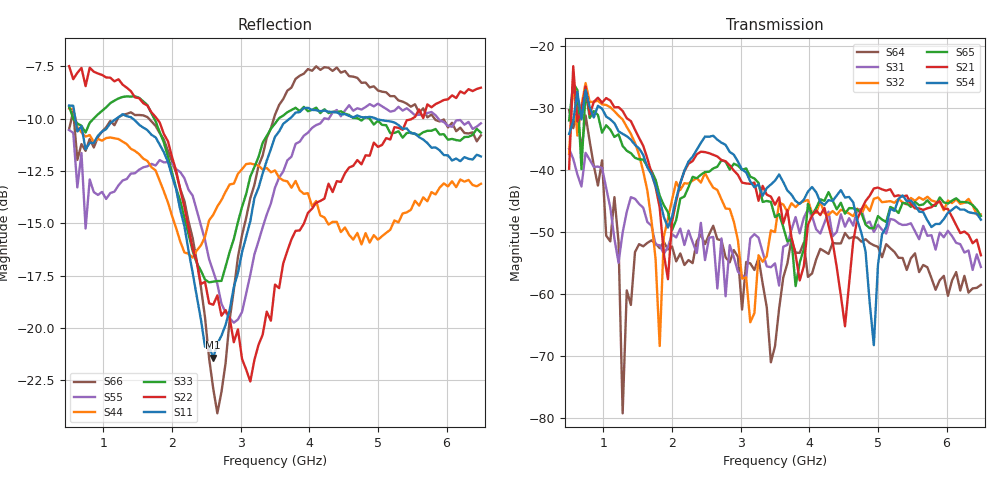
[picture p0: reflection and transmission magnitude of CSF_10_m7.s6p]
!Keysight Technologies,M9804A,MY58100912,A.14.10.03
!Date: Thursday, April 27, 2023 10:28:33
!Correction: S11(C  6-Port  )
!S12(C  6-Port  )
!S13(C  6-Port  )
!S14(C  6-Port  )
!S15(C  6-Port  )
!S16(C  6-Port  )
!S21(C  6-Port  )
!S22(C  6-Port  )
!S23(C  6-Port  )
!S24(C  6-Port  )
!S25(C  6-Port  )
!S26(C  6-Port  )
!S31(C  6-Port  )
!S32(C  6-Port  )
!S33(C  6-Port  )
!S34(C  6-Port  )
!S35(C  6-Port  )
!S36(C  6-Port  )
!S41(C  6-Port  )
!S42(C  6-Port  )
!S43(C  6-Port  )
!S44(C  6-Port  )
!S45(C  6-Port  )
!S46(C  6-Port  )
!S51(C  6-Port  )
!S52(C  6-Port  )
!S53(C  6-Port  )
!S54(C  6-Port  )
!S55(C  6-Port  )
!S56(C  6-Port  )
!S61(C  6-Port  )
!S62(C  6-Port  )
!S63(C  6-Port  )
!S64(C  6-Port  )
!S65(C  6-Port  )
!S66(C  6-Port  )
!S6P File: Measurement: :
# Hz S  RI  R 50
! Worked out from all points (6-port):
!   101 points, 500 MHz to 6.5 GHz, reference 50 ohm
!   strongest paths, dB at 500 MHz, 2 GHz, 3.5 GHz, 5 GHz, 6.5 GHz:
!     S54: -34.2, -47.5, -41.7, -55.4, -48.1
!     S21: -39.8, -48.4, -45.6, -42.9, -53.8
!     S65: -32.0, -49.7, -47.6, -47.5, -47.5
!     S32: -37.4, -44.8, -50.0, -44.4, -47.2
!     S31: -36.6, -50.4, -55.1, -48.9, -55.7
!     S64: -30.4, -52.4, -68.5, -52.4, -58.6
!   lowest |S11| = -21.4 dB at 2.6 GHz (marker M1), VSWR 1.19, Z = 42.5 + j2.21 ohm
!   |S11| at or under -10 dB: 590.3 MHz to 1.187 GHz (597.2 MHz wide, 67.2 % of centre); 1.428 GHz to 3.713 GHz (2.284 GHz wide, 88.9 % of centre); 4.974 GHz to end of sweep
